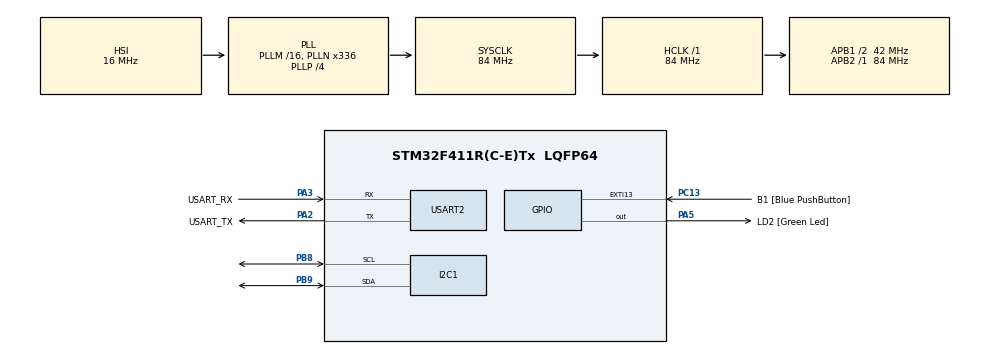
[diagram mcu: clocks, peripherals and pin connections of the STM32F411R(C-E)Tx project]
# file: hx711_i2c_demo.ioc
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Mcu.Family=STM32F4
Mcu.Name=STM32F411R(C-E)Tx
Mcu.Package=LQFP64
NVIC.PriorityGroup=NVIC_PRIORITYGROUP_0
PA13.GPIO_Label=TMS
PA13.Mode=Serial_Wire
PA13.Signal=SYS_JTMS-SWDIO
PA14.GPIO_Label=TCK
PA14.Mode=Serial_Wire
PA14.Signal=SYS_JTCK-SWCLK
PA2.GPIO_Label=USART_TX
PA2.Mode=Asynchronous
PA2.Signal=USART2_TX
PA3.GPIO_Label=USART_RX
PA3.Mode=Asynchronous
PA3.Signal=USART2_RX
PA5.GPIO_Label=LD2 [Green Led]
PA5.Signal=GPIO_Output
PB3.GPIO_Label=SWO
PB3.Signal=SYS_JTDO-SWO
PB8.Mode=I2C
PB8.Signal=I2C1_SCL
PB9.Mode=I2C
PB9.Signal=I2C1_SDA
PC13-ANTI_TAMP.GPIO_Label=B1 [Blue PushButton]
PC13-ANTI_TAMP.GPIO_ModeDefaultEXTI=GPIO_MODE_IT_FALLING
PC13-ANTI_TAMP.Signal=GPXTI13
PC14-OSC32_IN.Mode=LSE-External-Oscillator
PC14-OSC32_IN.Signal=RCC_OSC32_IN
PC15-OSC32_OUT.Mode=LSE-External-Oscillator
PC15-OSC32_OUT.Signal=RCC_OSC32_OUT
PH0\ -\ OSC_IN.Mode=HSE-External-Clock-Source
PH0\ -\ OSC_IN.Signal=RCC_OSC_IN
PH1\ -\ OSC_OUT.Mode=HSE-External-Clock-Source
PH1\ -\ OSC_OUT.Signal=RCC_OSC_OUT
ProjectManager.HeapSize=0x200
ProjectManager.StackSize=0x400
ProjectManager.TargetToolchain=STM32CubeIDE
RCC.48MHZClocksFreq_Value=84000000
RCC.AHBFreq_Value=84000000
RCC.APB1CLKDivider=RCC_HCLK_DIV2
RCC.APB1Freq_Value=42000000
RCC.APB1TimFreq_Value=84000000
RCC.APB2Freq_Value=84000000
RCC.APB2TimFreq_Value=84000000
RCC.CortexFreq_Value=84000000
RCC.FLatency-AdvancedSettings=FLASH_LATENCY_2
RCC.HCLKFreq_Value=84000000
RCC.HSE_VALUE=8000000
RCC.HSI_VALUE=16000000
RCC.PLLN=336
RCC.PLLP=RCC_PLLP_DIV4
RCC.SYSCLKFreq_VALUE=84000000
RCC.SYSCLKSource=RCC_SYSCLKSOURCE_PLLCLK
RCC.VCOOutputFreq_Value=336000000
USART2.VirtualMode=VM_ASYNC
board=NUCLEO-F411RE

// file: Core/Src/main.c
/* USER CODE BEGIN Header */
/**
  ******************************************************************************
  * @file           : main.c
  * @brief          : Main program body
  ******************************************************************************
  * @attention
  *
  * Copyright (c) 2025 STMicroelectronics.
  * All rights reserved.
  *
  * This software is licensed under terms that can be found in the LICENSE file
  * in the root directory of this software component.
  * If no LICENSE file comes with this software, it is provided AS-IS.
  *
  ******************************************************************************
  */
/* USER CODE END Header */
#include "main.h"

/* USER CODE BEGIN Includes */
#include "hx711_dfrobot.h"
#include <string.h>
#include <stdio.h>
#include <math.h>
#include <stdlib.h>
/* USER CODE END Includes */

I2C_HandleTypeDef hi2c1;

UART_HandleTypeDef huart2;

/* USER CODE BEGIN PV */
hx711df_t g_scale;
/* USER CODE END PV */

void SystemClock_Config(void);
static void MX_GPIO_Init(void);
static void MX_USART2_UART_Init(void);
static void MX_I2C1_Init(void);

/* USER CODE BEGIN 0 */
/* ---------------- Noise / Drift control params ---------------- */
#define SIGN            (-1.0f)   /* 보드가 음수로 증가하므로 -1 (정상이면 +1) */

#define ENABLE_AUTO_ZERO   1      /* 먼저 0으로 테스트. OK면 1로 켜세요 */
#define AZ_THRESH_G        0.9f   /* |g|<0.5g를 영점 주변으로 간주 */
#define AZ_HOLD_MS         3000U  /* 3초 지속 시 자동 영점 */

#define MAX_STEP_G         500.0f /* 샘플 간 최대 점프 허용치 */
#define MED_WIN            3      /* 미디언 창 크기 (1=미사용, 3 권장) */
#define ALPHA_NUM          1      /* IIR alpha = 1/2 */
#define ALPHA_DEN          2

/* ---------------- Internal filter state ---------------- */
static float    prev_est  = 0.0f;  /* last filtered estimate */
static int      prev_init = 0;     /* first sample? */
static uint32_t nearZ     = 0;     /* time near zero */

/* UART logger */
static void log_uart(const char *s)
{
  HAL_UART_Transmit(&huart2, (uint8_t*)s, (uint16_t)strlen(s), 10);
}

/* clamp per-sample step size */
static float clamp_step(float prev, float cur, float max_step)
{
  float d = cur - prev;
  if (d >  max_step) return prev + max_step;
  if (d < -max_step) return prev - max_step;
  return cur;
}

/* small median filter window (MED_WIN=3) */
static float median_push_get(float x)
{
#if (MED_WIN <= 1)
  return x;
#else
  static float buf[MED_WIN] = {0};
  static int idx = 0, count = 0;

  buf[idx] = x;
  idx = (idx + 1) % MED_WIN;
  if (count < MED_WIN) count++;

  float tmp[MED_WIN];
  for (int i=0;i<count;i++) tmp[i] = buf[i];

  /* insertion sort */
  for (int i=1;i<count;i++) {
    float key = tmp[i];
    int j = i-1;
    while (j>=0 && tmp[j] > key) { tmp[j+1] = tmp[j]; j--; }
    tmp[j+1] = key;
  }

  if (count < 3) {
    float s=0.0f; for (int i=0;i<count;i++) s+=tmp[i];
    return s / (float)count;
  }
  return tmp[count/2];
#endif
}

/* simple 1st-order low-pass IIR, y += a*(x - y) */
static float iir_lp(float in, int reset)
{
#if (ALPHA_DEN <= 0)
  return in;
#else
  static float y = 0.0f;
  static int init = 0;
  const float alpha = (float)ALPHA_NUM / (float)ALPHA_DEN;

  if (reset || !init) { y = in; init = 1; return y; }
  y = y + alpha * (in - y);
  return y;
#endif
}
/* USER CODE END 0 */

int main(void)
{

  /* MCU Configuration--------------------------------------------------------*/

  /* Reset of all peripherals, Initializes the Flash interface and the Systick. */
  HAL_Init();

  /* Configure the system clock */
  SystemClock_Config();

  /* Initialize all configured peripherals */
  MX_GPIO_Init();
  MX_USART2_UART_Init();
  MX_I2C1_Init();
  /* USER CODE BEGIN 2 */
  if (!hx711df_begin(&g_scale, &hi2c1, 0x64)) {
    log_uart("ERR: hx711df_begin failed\r\n");
    while (1) { }
  }

  HAL_Delay(3000);            /* power/mechanics settle */
  hx711df_peel(&g_scale);     /* tare on empty */
  log_uart("tare done, ready\r\n");
  /* USER CODE END 2 */

  /* Infinite loop */
  while (1)
  {

    /* USER CODE BEGIN 3 */
    float g_raw = 0.0f;

    if (hx711df_read_weight(&g_scale, 10, &g_raw)) {
      /* 0) sign correction */
      g_raw *= SIGN;

      /* 1) step clamp */
      float g_step = prev_init ? clamp_step(prev_est, g_raw, MAX_STEP_G) : g_raw;

      /* 2) median */
      float g_med = median_push_get(g_step);

      /* 3) IIR low-pass (reset on first sample) */
      float g_filt = iir_lp(g_med, !prev_init);
      prev_est  = g_filt;
      prev_init = 1;

#if ENABLE_AUTO_ZERO
      /* 4) auto-zero near 0 for a while */
      if (fabsf(g_filt) < AZ_THRESH_G) {
        if (nearZ == 0) nearZ = HAL_GetTick();
        if (HAL_GetTick() - nearZ > AZ_HOLD_MS) {
          hx711df_peel(&g_scale);
          iir_lp(0.0f, 1);    /* reset filter */
          prev_est  = 0.0f;
          prev_init = 0;
          nearZ     = 0;
          log_uart("Auto zeroed\r\n");
        }
      } else {
        nearZ = 0;
      }
#endif

      /* 5) integer-friendly logging: show raw & filt in 0.1 g units */
      float g_raw_abs  = fabsf(g_raw);
      float g_filt_abs = fabsf(g_filt);

      int d_raw  = (int)llroundf(g_raw_abs  * 10.0f);
      int d_filt = (int)llroundf(g_filt_abs * 10.0f);

      char buf[96];
      int n = snprintf(buf, sizeof(buf),
                       "raw:%d.%01d g, filt:%d.%01d g\r\n",
                       d_raw/10,  abs(d_raw%10),
                       d_filt/10, abs(d_filt%10));
      if (n > 0) HAL_UART_Transmit(&huart2, (uint8_t*)buf, n, 50);
    }

    HAL_Delay(200); /* ~5 Hz */
  }
  /* USER CODE END 3 */
}

void SystemClock_Config(void)
{
  RCC_OscInitTypeDef RCC_OscInitStruct = {0};
  RCC_ClkInitTypeDef RCC_ClkInitStruct = {0};

  /** Configure the main internal regulator output voltage
  */
  __HAL_RCC_PWR_CLK_ENABLE();
  __HAL_PWR_VOLTAGESCALING_CONFIG(PWR_REGULATOR_VOLTAGE_SCALE1);

  /** Initializes the RCC Oscillators according to the specified parameters
  * in the RCC_OscInitTypeDef structure.
  */
  RCC_OscInitStruct.OscillatorType = RCC_OSCILLATORTYPE_HSI;
  RCC_OscInitStruct.HSIState = RCC_HSI_ON;
  RCC_OscInitStruct.HSICalibrationValue = RCC_HSICALIBRATION_DEFAULT;
  RCC_OscInitStruct.PLL.PLLState = RCC_PLL_ON;
  RCC_OscInitStruct.PLL.PLLSource = RCC_PLLSOURCE_HSI;
  RCC_OscInitStruct.PLL.PLLM = 16;
  RCC_OscInitStruct.PLL.PLLN = 336;
  RCC_OscInitStruct.PLL.PLLP = RCC_PLLP_DIV4;
  RCC_OscInitStruct.PLL.PLLQ = 4;
  if (HAL_RCC_OscConfig(&RCC_OscInitStruct) != HAL_OK)
  {
    Error_Handler();
  }

  /** Initializes the CPU, AHB and APB buses clocks
  */
  RCC_ClkInitStruct.ClockType = RCC_CLOCKTYPE_HCLK|RCC_CLOCKTYPE_SYSCLK
                              |RCC_CLOCKTYPE_PCLK1|RCC_CLOCKTYPE_PCLK2;
  RCC_ClkInitStruct.SYSCLKSource = RCC_SYSCLKSOURCE_PLLCLK;
  RCC_ClkInitStruct.AHBCLKDivider = RCC_SYSCLK_DIV1;
  RCC_ClkInitStruct.APB1CLKDivider = RCC_HCLK_DIV2;
  RCC_ClkInitStruct.APB2CLKDivider = RCC_HCLK_DIV1;

  if (HAL_RCC_ClockConfig(&RCC_ClkInitStruct, FLASH_LATENCY_2) != HAL_OK)
  {
    Error_Handler();
  }
}

static void MX_I2C1_Init(void)
{

  hi2c1.Instance = I2C1;
  hi2c1.Init.ClockSpeed = 100000;
  hi2c1.Init.DutyCycle = I2C_DUTYCYCLE_2;
  hi2c1.Init.OwnAddress1 = 0;
  hi2c1.Init.AddressingMode = I2C_ADDRESSINGMODE_7BIT;
  hi2c1.Init.DualAddressMode = I2C_DUALADDRESS_DISABLE;
  hi2c1.Init.OwnAddress2 = 0;
  hi2c1.Init.GeneralCallMode = I2C_GENERALCALL_DISABLE;
  hi2c1.Init.NoStretchMode = I2C_NOSTRETCH_DISABLE;
  if (HAL_I2C_Init(&hi2c1) != HAL_OK)
  {
    Error_Handler();
  }

}

static void MX_USART2_UART_Init(void)
{

  huart2.Instance = USART2;
  huart2.Init.BaudRate = 115200;
  huart2.Init.WordLength = UART_WORDLENGTH_8B;
  huart2.Init.StopBits = UART_STOPBITS_1;
  huart2.Init.Parity = UART_PARITY_NONE;
  huart2.Init.Mode = UART_MODE_TX_RX;
  huart2.Init.HwFlowCtl = UART_HWCONTROL_NONE;
  huart2.Init.OverSampling = UART_OVERSAMPLING_16;
  if (HAL_UART_Init(&huart2) != HAL_OK)
  {
    Error_Handler();
  }

}

static void MX_GPIO_Init(void)
{
  GPIO_InitTypeDef GPIO_InitStruct = {0};

  /* GPIO Ports Clock Enable */
  __HAL_RCC_GPIOC_CLK_ENABLE();
  __HAL_RCC_GPIOH_CLK_ENABLE();
  __HAL_RCC_GPIOA_CLK_ENABLE();
  __HAL_RCC_GPIOB_CLK_ENABLE();

  /*Configure GPIO pin Output Level */
  HAL_GPIO_WritePin(LD2_GPIO_Port, LD2_Pin, GPIO_PIN_RESET);

  /*Configure GPIO pin : B1_Pin */
  GPIO_InitStruct.Pin = B1_Pin;
  GPIO_InitStruct.Mode = GPIO_MODE_IT_FALLING;
  GPIO_InitStruct.Pull = GPIO_NOPULL;
  HAL_GPIO_Init(B1_GPIO_Port, &GPIO_InitStruct);

  /*Configure GPIO pin : LD2_Pin */
  GPIO_InitStruct.Pin = LD2_Pin;
  GPIO_InitStruct.Mode = GPIO_MODE_OUTPUT_PP;
  GPIO_InitStruct.Pull = GPIO_NOPULL;
  GPIO_InitStruct.Speed = GPIO_SPEED_FREQ_LOW;
  HAL_GPIO_Init(LD2_GPIO_Port, &GPIO_InitStruct);

}

void Error_Handler(void)
{
  __disable_irq();
  while (1)
  {
  }
}
